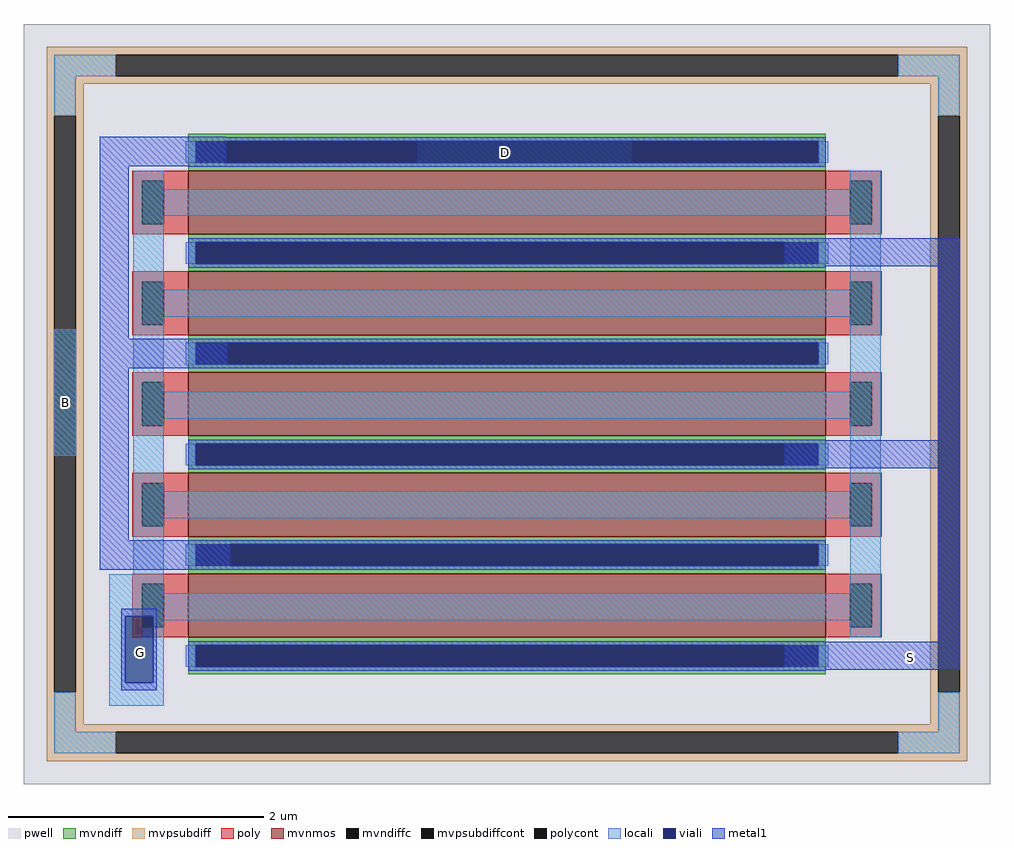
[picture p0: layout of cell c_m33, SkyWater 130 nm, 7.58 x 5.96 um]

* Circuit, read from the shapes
.subckt c_m33 D G S B
XM1 D G S B sky130_fd_pr__nfet_g5v0d10v5 w=5 l=0.5 m=5
.ends

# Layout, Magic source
magic
tech sky130A
magscale 1 2
<< locali >>
rect 564 912 900 944
rect 119 870 167 899
rect 1243 870 1291 899
rect 119 828 1291 870
rect 119 712 167 828
rect 1243 712 1291 828
rect 119 670 1291 712
rect -5 452 29 650
rect 119 552 167 670
rect 1243 552 1291 670
rect 119 510 1291 552
rect 119 396 167 510
rect 1243 396 1291 510
rect 119 354 1291 396
rect 119 266 167 354
rect 81 236 167 266
rect 1243 236 1291 354
rect 81 200 1291 236
rect 81 96 106 200
rect 150 194 1291 200
rect 150 96 167 194
rect 1243 167 1291 194
rect 81 60 167 96
<< viali >>
rect 106 96 150 200
<< metal1 >>
rect 66 906 264 952
rect 66 635 112 906
rect 1141 749 1415 793
rect 66 589 266 635
rect 66 319 112 589
rect 1381 476 1415 749
rect 1141 432 1415 476
rect 66 273 270 319
rect 100 200 156 212
rect 100 96 106 200
rect 150 96 156 200
rect 1381 160 1415 432
rect 1141 116 1415 160
rect 100 84 156 96
use sky130_fd_pr__nfet_g5v0d10v5_CMNTPV  sky130_fd_pr__nfet_g5v0d10v5_CMNTPV_0
transform 0 1 705 -1 0 533
box -596 -758 596 758
<< labels >>
flabel locali 702 928 702 928 0 FreeSans 800 0 0 0 D
port 0 nsew
flabel viali 130 144 130 144 0 FreeSans 800 0 0 0 G
port 1 nsew
flabel metal1 1338 136 1338 136 0 FreeSans 800 0 0 0 S
port 2 nsew
flabel locali 12 536 12 536 0 FreeSans 800 0 0 0 B
port 3 nsew
<< end >>

# cell sky130_fd_pr__nfet_g5v0d10v5_CMNTPV: kit device sky130_fd_pr__nfet_g5v0d10v5, w 5 l 0.5 m 1 nf 5 diffcov 100 polycov 100 guard 1 glc 1 grc 1 gtc 1 gbc 1 tbcov 100 rlcov 100 topc 1 botc 1 poverlap 0 doverlap 1 lmin 0.50 wmin 0.42 class mosfet compatible {sky130_fd_pr__nfet_01v8 sky130_fd_pr__nfet_01v8_lvt sky130_fd_bs_flash__special_sonosfet_star sky130_fd_pr__nfet_g5v0d10v5 sky130_fd_pr__nfet_05v0_nvt sky130_fd_pr__nfet_03v3_nvt} full_metal 1 conn_gates 0 viasrc 100 viadrn 100 viagate 100 viagb 0 viagr 0 viagl 0 viagt 0 doports 1
